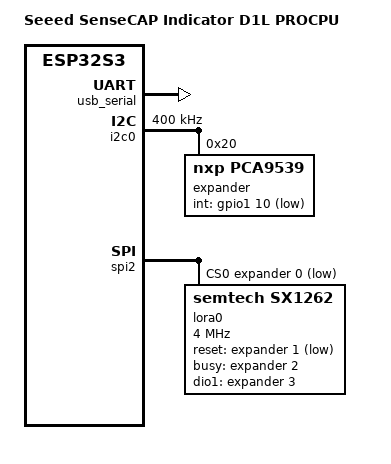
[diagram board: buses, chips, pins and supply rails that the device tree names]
/*
 * Seeed SenseCAP Indicator D1L — PROCPU.
 * ESP32-S3, 8MB flash + 8MB OCTAL PSRAM, SX1262 LoRa.
 *
 * HEADLESS bring-up: this board also has an ST7701 RGB touchscreen, an RP2040
 * co-processor (UART), a BMP390 sensor and an audio codec, none of which are
 * wired here. This .dts covers only what's needed to boot and run the mesh
 * radio: SoC, PSRAM/flash, the TCA9535 I2C GPIO expander, and the SX1262
 * behind it. See README.md for the full source list and what's out of scope.
 *
 * Pin sources (none of this is guessed — see README.md for the full citation
 * list):
 *   - seeed-solution/SenseCAP_Indicator_ESP32 (Seeed's own ESP-IDF reference
 *     firmware, vendored at ~/zephyrtastic-wt/SenseCAP_Indicator_ESP32):
 *     components/bsp/src/boards/sensecap_indicator_board.c (I2C bus pins, TCA9535
 *     address) and components/lora/bsp_sx126x.h (SPI pins, expander INT pin,
 *     expander pin indices for the radio's NSS/RESET/BUSY/DIO1).
 *   - upstream Meshtastic firmware/variants/esp32s3/seeed-sensecap-indicator/
 *     variant.h and platformio.ini (SPI pins, expander pin indices, expander
 *     address, expander INT pin — cross-checked against the above and agrees).
 *   - Seeed's product page (seeedstudio.com/SenseCAP-Indicator-D1L-p-5646.html)
 *     and Seeed's own sdkconfig.defaults (examples/indicator_lora,
 *     examples/indicator_basis in the vendored repo above) for flash/PSRAM size.
 *
 * SPDX-License-Identifier: Apache-2.0
 */
/dts-v1/;

#include <espressif/esp32s3/esp32s3_wroom_n8r8.dtsi>
#include "sensecap_indicator_d1l-pinctrl.dtsi"
#include <espressif/partitions_0x0_amp_8M.dtsi>
#include <zephyr/dt-bindings/gpio/gpio.h>
#include <zephyr/dt-bindings/lora/sx126x.h>

/ {
	model = "Seeed SenseCAP Indicator D1L PROCPU";
	compatible = "espressif,esp32s3";

	aliases {
		lora0 = &lora0;
		i2c-0 = &i2c0;
	};

	chosen {
		zephyr,sram = &sram1;
		zephyr,console = &usb_serial;
		zephyr,shell-uart = &usb_serial;
		zephyr,flash = &flash0;
		zephyr,code-partition = &slot0_partition;
		zephyr,bt-hci = &esp32_bt_hci;
	};
};

/* Native USB console/shell. No confirmed schematic evidence of a discrete
 * USB-UART bridge chip on this board (see the pinctrl file); this mirrors
 * heltec_wifi_lora32_v4's own no-CP2102 setup and needs no pin assignment. */
&usb_serial {
	status = "okay";
};

&gpio0 {
	status = "okay";
};

&gpio1 {
	status = "okay";
};

&i2c0 {
	status = "okay";
	clock-frequency = <I2C_BITRATE_FAST>;
	pinctrl-0 = <&i2c0_default>;
	pinctrl-names = "default";

	/*
	 * TCA9535 I2C GPIO expander, addr 0x20 (Seeed bsp_board_lcd_evb_res:
	 * IO_EXPANDER_I2C_ADDR; Meshtastic configuration.h: TCA9535_ADDR). TCA9535
	 * is pin/register-compatible with the NXP PCA9535 (16-bit expander family);
	 * Zephyr's nxp,pca9539 binding documents itself as covering that same part
	 * (nxp,pca_series.yaml: "PCA9539 compatible with PCA9535, PCA9555, PCA6416")
	 * and gpio_pca_series.c is a real, complete interrupt-capable driver for it
	 * (edge/level triggering, deferred k_work dispatch, per-pin callbacks) — the
	 * same shape of logic Seeed's own ESP-IDF firmware hand-rolls in
	 * sx126x_sensecap_board.c (gpio_isr_handler on the combined INT line -> a
	 * FreeRTOS task -> an I2C register read to find which pin fired). Using
	 * this driver means the LoRa radio's CS/RESET/BUSY/DIO1, wired below as
	 * ordinary gpio-dt-specs on this controller, need no board-specific glue
	 * code at all — the native sx126x driver (zephyr/drivers/lora/native/sx126x)
	 * already just calls the generic Zephyr GPIO API, which this expander
	 * driver implements the same as any native SoC GPIO bank.
	 *
	 * int-gpios: the combined interrupt line is GPIO42 (Meshtastic
	 * platformio.ini: IO_EXPANDER_IRQ=42; Seeed bsp_sx126x.h:
	 * ESP32_EXPANDER_IO_INT), confirmed real and routed (not polled) — Seeed's
	 * own firmware installs a genuine edge ISR on it. GPIO42 = gpio1 pin 10
	 * (esp32s3_common.dtsi: gpio1 covers GPIO32..53). Active-low open-drain
	 * per the pca_series binding's own documentation of this property, which
	 * matches the TCA9535's /INT behaviour; the internal pull-up is enabled
	 * defensively since no schematic confirms whether an external one exists.
	 * VERIFY(hardware): GPIO42 polarity/pull and the whole IRQ path, on a bench.
	 */
	expander: tca9535@20 {
		compatible = "nxp,pca9539";
		reg = <0x20>;
		gpio-controller;
		#gpio-cells = <2>;
		ngpios = <16>;
		int-gpios = <&gpio1 10 (GPIO_PULL_UP | GPIO_ACTIVE_LOW)>;
	};
};

&spi2 {
	#address-cells = <1>;
	#size-cells = <0>;
	status = "okay";
	pinctrl-0 = <&spim2_default>;
	pinctrl-names = "default";

	/*
	 * CS is expander pin 0 (Seeed bsp_sx126x.h: EXPANDER_IO_RADIO_NSS;
	 * Meshtastic variant.h: LORA_CS (0 | IO_EXPANDER)). Zephyr's SPI CS
	 * handling (spi_context_cs_control()) is a plain gpio_pin_set_dt() call —
	 * generic across any GPIO controller, native or expander-backed — so this
	 * is architecturally sound, but every SPI transfer now pays an I2C
	 * round-trip (tens to a few hundred us) before the clock even starts. Not
	 * a correctness problem; a real latency cost worth characterising on the
	 * bench once this boots — see README.md.
	 */
	cs-gpios = <&expander 0 GPIO_ACTIVE_LOW>;

	/*
	 * SX1262. RESET/BUSY/DIO1 are expander pins 1/2/3 (Seeed bsp_sx126x.h:
	 * EXPANDER_IO_RADIO_RST/BUSY/DIO_1; Meshtastic variant.h: LORA_RESET
	 * (1|IO_EXPANDER), LORA_DIO2 (2|IO_EXPANDER) [Meshtastic's macro name for
	 * this index is misleading -- it is the BUSY line, matching Seeed's own
	 * EXPANDER_IO_RADIO_BUSY=2], LORA_DIO1 (3|IO_EXPANDER)).
	 *
	 * No GPIO_OPEN_DRAIN on reset-gpios (unlike heltec_wifi_lora32_v4's native
	 * reset line) -- gpio_pca_series.c's pin_configure returns -ENOTSUP for
	 * GPIO_SINGLE_ENDED on parts that don't support it, and nothing in Seeed's
	 * or Meshtastic's own code does anything open-drain-specific for this pin,
	 * so this doesn't carry V4's choice over without evidence it applies here.
	 *
	 * No GPIO_INT_WAKEUP on dio1-gpios (unlike V4) -- an expander pin cannot be
	 * a light-sleep EXT1 wake source (Meshtastic's own variant.h says so:
	 * "LORA_DIO1 is an expander pin ... can't be used as a sleep/GPIO wakeup
	 * source"). This board has no light-sleep DIO1 wake until/unless something
	 * else provides it; a missed-frame-during-sleep tradeoff to accept for now,
	 * not a bug to chase.
	 *
	 * dio3-tcxo-voltage: Seeed's bsp_sx126x.h sets SX126X_TCXO_CTRL_VOLTAGE
	 * TCXO_CTRL_2_4V -- 2.4V, NOT the 1.8V the Heltec boards use. Different
	 * from every other board in this project; taken directly from Seeed's own
	 * source, not assumed to match.
	 *
	 * No dio2-tx-enable and no rx-boosted: this board has no external FEM (no
	 * PA/LNA front-end mentioned anywhere in Meshtastic's variant.h or Seeed's
	 * BSP for this SKU — a bare SX1262), so the weak
	 * meshtastic_radio_fem_*() identity/no-op defaults apply as-is; no board
	 * _fem.c is needed. rx-boosted is a real SX1262 capability independent of
	 * any FEM, but nothing sourced here confirms Seeed enables it — left off
	 * rather than assumed on.
	 */
	lora0: modem@0 {
		compatible = "semtech,sx1262";
		reg = <0>;
		reset-gpios = <&expander 1 GPIO_ACTIVE_LOW>;
		busy-gpios = <&expander 2 GPIO_ACTIVE_HIGH>;
		dio1-gpios = <&expander 3 GPIO_ACTIVE_HIGH>;
		dio3-tcxo-voltage = <SX126X_DIO3_TCXO_2V4>;
		tcxo-power-startup-delay-ms = <5>;
		spi-max-frequency = <4000000>;
	};
};
